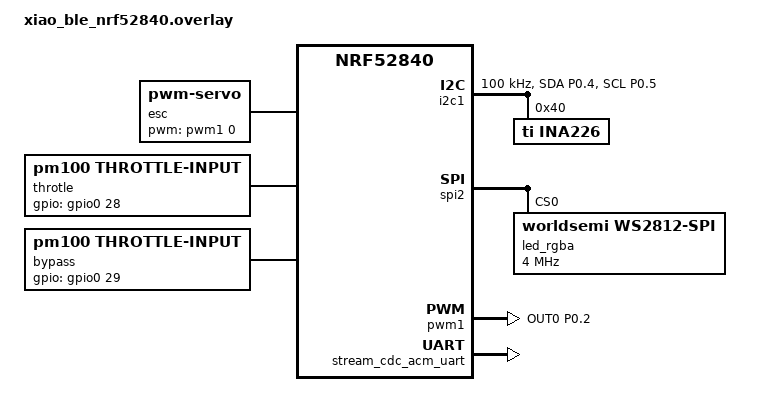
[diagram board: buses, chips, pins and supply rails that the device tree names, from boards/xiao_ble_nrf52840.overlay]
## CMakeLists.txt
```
# SPDX-License-Identifier: Apache-2.0

cmake_minimum_required(VERSION 3.20.0)
find_package(Zephyr REQUIRED HINTS $ENV{ZEPHYR_BASE})
project(pm100)

target_sources(app PRIVATE src/main.c src/control.c src/stream.c)
```

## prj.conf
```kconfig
CONFIG_USB_DEVICE_STACK=y
CONFIG_USB_DEVICE_INITIALIZE_AT_BOOT=y
CONFIG_CONSOLE=y
CONFIG_UART_CONSOLE=y
CONFIG_UART_LINE_CTRL=y
# Two CDC ACM instances are instantiated from the devicetree:
# board_cdc_acm_uart (console + shell + logs) and stream_cdc_acm_uart (binary
# telemetry stream, see boards/xiao_ble_nrf52840.overlay and src/stream.c).
#
# The ring buffer size is global, i.e. it applies to TX *and* RX of *both*
# instances: 2 x 2 x 4096 = 16 kB of RAM. It is deliberately much larger than
# the biggest frame (8 + 48*44 = 2120 bytes) so a whole frame is normally
# accepted by a single uart_fifo_fill() call and the stream stays contiguous.
CONFIG_USB_CDC_ACM_RINGBUF_SIZE=4096
CONFIG_GPIO=y
CONFIG_CBPRINTF_FP_SUPPORT=y
CONFIG_LOG=y
CONFIG_SHELL=y
CONFIG_SHELL_HISTORY=y
CONFIG_SHELL_VT100_COLORS=y
CONFIG_SERIAL=y
CONFIG_PWM=y

# nrfx TIMER2 is used directly from src/control.c (GPIOTE -> PPI input capture),
# so CONFIG_NRFX_TIMER2 and CONFIG_NRFX_PPI must stay enabled.
# CONFIG_COUNTER must NOT be enabled: with the nRF timer nodes exposed to the
# devicetree the Zephyr counter driver binds to TIMER2/TIMER3 (it programs the
# same peripheral, owns CC0/CC1 and enables their IRQs) and conflicts with the
# raw nrfx use of TIMER2. Nothing in this application uses the counter API.
CONFIG_NRFX_TIMER2=y
CONFIG_NRFX_PPI=y
CONFIG_I2C=y
CONFIG_SENSOR=y
CONFIG_INA226=y
CONFIG_INA226_VSHUNT=y

CONFIG_SPI=y
CONFIG_LED_STRIP=y



CONFIG_FLASH=y
CONFIG_FLASH_PAGE_LAYOUT=y
CONFIG_FLASH_MAP=y
CONFIG_NVS=y
CONFIG_SETTINGS=y
CONFIG_SETTINGS_NVS=y
CONFIG_BT=y
CONFIG_BT_PERIPHERAL=y
CONFIG_BT_DEVICE_NAME="PM100-PowerLimiter"
CONFIG_BT_SMP=y
CONFIG_BT_SETTINGS=y
CONFIG_BT_FIXED_PASSKEY=y
CONFIG_BT_KEYS_OVERWRITE_OLDEST=y
CONFIG_BT_KEYS_SAVE_AGING_COUNTER_ON_PAIRING=y

# Configure BLE TX Power to the lowest possible level (-40 dBm)
CONFIG_BT_CTLR=y
CONFIG_BT_CTLR_TX_PWR_MINUS_4=y
```

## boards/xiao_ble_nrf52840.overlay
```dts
// To get started, press Ctrl+Space to bring up the completion menu and view the available nodes.

// You can also use the buttons in the sidebar to perform actions on nodes.
// Actions currently available include:

// * Enabling / disabling the node
// * Adding the bus to a bus
// * Removing the node
// * Connecting ADC channels

// For more help, browse the DeviceTree documentation at https://docs.zephyrproject.org/latest/guides/dts/index.html
// You can also visit the nRF DeviceTree extension documentation at https://docs.nordicsemi.com/bundle/nrf-connect-vscode/page/guides/ncs_configure_app.html#devicetree-support-in-the-extension

#include <zephyr/dt-bindings/pwm/pwm.h>
#include <zephyr/dt-bindings/gpio/gpio.h>
#include <zephyr/dt-bindings/sensor/ina226.h>
#include <zephyr/dt-bindings/led/led.h>
#include <zephyr/dt-bindings/i2c/i2c.h>

&pinctrl {

	esc_default: esc_default {
		group1 {
			psels = <NRF_PSEL(PWM_OUT0, 0, 2)>;
		};
	};
	esc_sleep: esc_sleep {
		group1 {
			psels = <NRF_PSEL(PWM_OUT0, 0, 2)>;
			low-power-enable;
		};
	};
	i2c1_default: i2c1_default {
        	group1 {
                	psels = <NRF_PSEL(TWIM_SDA, 0, 4)>,
                        	<NRF_PSEL(TWIM_SCL, 0, 5)>;
                	bias-pull-up; /* ENABLES THE INTERNAL PULL-UP RESISTORS */
            };
        };
	i2c1_sleep: i2c1_sleep {
        	group1 {
                	psels = <NRF_PSEL(TWIM_SDA, 0, 4)>,
                        	<NRF_PSEL(TWIM_SCL, 0, 5)>;
                	low-power-enable;
            	};
        };

	// spi2_default: spi2_default {
	// 	group1 {
	// 		psels = <NRF_PSEL(SPIM_SCK, 0, 13)>,
	// 			<NRF_PSEL(SPIM_MOSI, 0, 17)>,
	// 			<NRF_PSEL(SPIM_MISO, 0, 15)>;
	// 	};
	// };

	// spi2_sleep: spi2_sleep {
	// 	group1 {
	// 		psels = <NRF_PSEL(SPIM_SCK, 0, 13)>,
	// 			<NRF_PSEL(SPIM_MOSI, 0, 17)>,
	// 			<NRF_PSEL(SPIM_MISO, 0, 15)>;
	// 		low-power-enable;
	// 	};
	// };
};

&i2c1 {
    	status = "okay";
	/* Keep the legacy TWI (compatible = "nordic,nrf-twi" from the board) at
	 * its default 100 kHz. The INA226 probe is on flying leads, and the
	 * previous I2C_BITRATE_FAST (400 kHz) setting made the sensor fail to
	 * probe: ina226_init() aborts, the device stays "not ready",
	 * control_init() returns -ENODEV and the 1 kHz control thread never
	 * starts, so the ESC output is never driven (the aircraft appears dead).
	 * Only raise this to <I2C_BITRATE_FAST> after scoping the bus with the
	 * real harness (short wires + strong pull-ups).
	 */
    	clock-frequency = <I2C_BITRATE_STANDARD>;
        pinctrl-0 = <&i2c1_default>;
        pinctrl-1 = <&i2c1_sleep>;
      	pinctrl-names = "default", "sleep";
	ina226@40 {
		compatible = "ti,ina226";
		reg = <0x40>;
		current-lsb-microamps = <500>;
		rshunt-micro-ohms = <1000>;
		/* Averaging costs LATENCY, not loop time: the config register is
		 * written once at init and ina226_read_data() only reads the result
		 * registers, so the INA226 free-runs and the 1 kHz loop simply
		 * re-reads the latest latched value (no blocking, no extra I2C time).
		 *
		 * Update period = avg-count x (vbus + vshunt conversion):
		 *   4 x (332 + 332) us = 2.66 ms -> 376 Hz update, ~1.3 ms group
		 *   delay, i.e. ~5 deg of phase at the ~15 Hz loop bandwidth, and
		 *   sqrt(4) = 2x less random noise than avg-count = 1.
		 * avg-count = 16 would add ~5.3 ms (~20 deg); only worth it if noise
		 * is still the limit after the controller changes.
		 *
		 * Floor: the shunt LSB is 2.5 uV, i.e. 2.5 mA over 1 mOhm = ~27 mW at
		 * 11 V, which averaging cannot improve.
		 */
		avg-count = <4>;
		vbus-conversion-time-us = <332>;
		vshunt-conversion-time-us = <332>;
		status = "okay";
	};

};

&spi2 {
	status = "okay";
	pinctrl-0 = <&spi2_default>;
	pinctrl-1 = <&spi2_sleep>;
	pinctrl-names = "default","sleep";
	led_rgba: ws2812@0 {
		compatible = "worldsemi,ws2812-spi";

		/* SPI */
		reg = <0>; /* ignored, but necessary for SPI device */
		/*
		 * The driver encodes ONE WS2812 bit as a WHOLE SPI BYTE, not 3 SPI
		 * bits (see the "8x internal memory overhead: 1 byte of driver RAM
		 * per bit of pixel data" note in worldsemi,ws2812-spi.yaml, and
		 * ws2812_spi_ser()/buf.len = length*8*num_colors in the driver), so
		 * the WS2812 bit period is 8 / f_sck:
		 *   4 MHz   -> 2.0 us per WS2812 bit  (T1H 750 ns, T0H 250 ns)
		 *   2.4 MHz -> 4.0 us per WS2812 bit  (T1H 1500 ns - 2x the max!)
		 * WS2812B wants 1.25 us, and this driver has no finer control, so
		 * 4 MHz with 0x70/0x40 is the combination Zephyr/Nordic validate for
		 * exactly this driver
		 * (zephyr/samples/drivers/led/led_strip/nrf52-bindings.h:
		 *  SPI_FREQ 4000000, ZERO_FRAME 0x40, ONE_FRAME 0x70).
		 *
		 * Do NOT use 2.4 MHz here. This board's spi2 is the legacy
		 * "nordic,nrf-spi" (CONFIG_SPI_NRFX_SPI), which can only produce
		 * 125k/250k/500k/1M/2M/4M/8M; get_nrf_spi_frequency() silently picks
		 * the highest rate NOT exceeding the request, so 2.4 MHz silently
		 * becomes 2 MHz and every WS2812 bit is stretched to 4.0 us with a
		 * 1.5 us high time. The strip then fails to decode and typically
		 * latches all ones = solid WHITE.
		 */
		spi-max-frequency = <4000000>;

		/* WS2812 */
		chain-length = <1>; /* arbitrary; change at will */
		spi-one-frame = <0x70>;  /* 0111 0000: 750 ns high, 1250 ns low */
		spi-zero-frame = <0x40>; /* 0100 0000: 250 ns high, 1750 ns low */
		color-mapping = <LED_COLOR_ID_GREEN
				 LED_COLOR_ID_RED
				 LED_COLOR_ID_BLUE>;
	};
};

&timer0 {
	status = "disabled";
};

&timer1 {
	status = "disabled";
};

/*
 * TIMER2 is driven directly through nrfx by src/control.c (GPIOTE -> PPI input
 * capture of the pilot throttle, NRF_TIMER_CC_CHANNEL0, 16 MHz, 32-bit).
 *
 * It MUST stay "disabled" here. These nodes are already "disabled" in
 * nrf52840.dtsi; enabling them made Zephyr's counter driver
 * (CONFIG_COUNTER=y, auto-selected CONFIG_COUNTER_NRF_TIMER=y) bind a counter
 * device to TIMER2 and TIMER3 and run its init at POST_KERNEL, i.e. before
 * main(): it programs bit width/mode/prescaler on the very same peripheral,
 * takes CC[0] (its TOP_CH) and CC[1] (COUNTER_READ_CC), and enables the
 * TIMER2/TIMER3 NVIC lines with its own ISR (IRQ 10 / IRQ 26). That is two
 * owners for one peripheral: CC[0] is exactly the channel the capture path
 * writes/reads, and nrfx_timer_init() can silently return NRFX_ERROR_ALREADY,
 * which src/control.c swallows.
 *
 * CONFIG_NRFX_TIMER2=y in prj.conf is what gives us the nrfx TIMER2 driver; it
 * only needs the "timer2" node *label* to exist, not an "okay" node.
 * TIMER0/TIMER1 stay disabled on purpose: they are reserved by the SoftDevice
 * Controller / MPSL that this build uses (chosen zephyr,bt-hci = &bt_hci_sdc).
 */
&timer2 {
	status = "disabled";
};
&timer3 {
	status = "disabled";
};
&pwm1{
	status = "okay";
	pinctrl-0 = <&esc_default>;
	pinctrl-1 = <&esc_sleep>;
	pinctrl-names = "default", "sleep";
};


/ {
	aliases {
		rgba = &led_rgba;
	};

	esc: esc {
		compatible = "pwm-servo";
		pwms = <&pwm1 0 PWM_MSEC(20) PWM_POLARITY_NORMAL>;
		min-pulse = <PWM_USEC(700)>;
		max-pulse = <PWM_USEC(2500)>;
		status = "okay";
	};

	/*
	 * RC-style PWM inputs, captured with nrfx GPIOTE + PPI + TIMER2 in
	 * src/control.c. Both nodes use a binding that has no driver
	 * (dts/bindings/pm100,throttle-input.yaml); that binding is what types
	 * "gpios" as a GPIO phandle-array, which is what GPIO_DT_SPEC_GET() in
	 * control.c needs.
	 * Do NOT go back to compatible = "gpio-leds": the Zephyr LED driver
	 * would configure these *input* pins as push-pull OUTPUTs at POST_KERNEL
	 * and drive them low (fighting the flight controller's signal) until the
	 * capture path re-configures them as inputs.
	 */
	throtle: throtle {
		compatible = "pm100,throttle-input";
		/* Pilot throttle input on P0.28 (XIAO D2). */
		gpios = <&gpio0 28 GPIO_PULL_DOWN>;
	};

	/* Limiter bypass switch input on P0.29 (XIAO D3). When this pulse is
	 * >= 1500 us the controller is bypassed and the pilot throttle passes
	 * straight to the ESC; below 1500 us the limiter runs normally.
	 */
	bypass: bypass {
		compatible = "pm100,throttle-input";
		gpios = <&gpio0 29 GPIO_PULL_DOWN>;
	};
};

/*
 * Second CDC ACM instance: dedicated binary telemetry stream
 * (src/stream.c), so shell commands, prompts and log output never mix with
 * the frames.
 *
 * Both instances are interfaces of the same USB device, so they share one
 * VID/PID (CONFIG_USB_DEVICE_VID/PID) and one iSerialNumber. Zephyr's
 * cdc_interface_config() rebases the interface numbers per instance, so the
 * first instance takes interfaces 0/1 and this one takes 2/3 (a second IAD).
 * Resources: 3 endpoints each (2 IN + 1 OUT), i.e. 4 IN + 2 OUT of the 7+7
 * the nRF52840 USBD provides.
 */
&zephyr_udc0 {
	stream_cdc_acm_uart: stream_cdc_acm_uart {
		compatible = "zephyr,cdc-acm-uart";
	};
};
```

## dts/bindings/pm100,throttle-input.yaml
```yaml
# SPDX-License-Identifier: Apache-2.0

description: |
  RC-style PWM input of the PM100 power limiter (pilot throttle, limiter
  bypass switch, ...).

  The pulse width is captured by the application itself with nrfx
  GPIOTE + PPI + TIMER2 (see src/control.c), so there is deliberately NO Zephyr
  driver for this compatible.

  The binding only exists to give the node the standard "gpios" property
  declaration. GPIO_DT_SPEC_GET() requires the property to be typed as a
  phandle-array: that is what makes the devicetree generator emit the
  controller device ordinal and the "pin" cell macros. Without a binding on the
  node (or a child-binding on its parent) those macros are not generated at all
  and the build fails with:

    error: '__device_dts_ord_DT_N_S_throtle_P_gpios_IDX_0_PH_ORD' undeclared

  Note: do NOT go back to compatible = "gpio-leds" on this pin. The Zephyr LED
  driver would configure an *input* pin as a push-pull output and drive it low
  at POST_KERNEL, i.e. before control_init() re-configures it through nrfx.

compatible: "pm100,throttle-input"

properties:
  gpios:
    type: phandle-array
    required: true
    description: |
      Throttle input pin, e.g. <&gpio0 28 GPIO_PULL_DOWN>.
```

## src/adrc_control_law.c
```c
#include "adrc_control_law.h"
#include <math.h>

/**
 * @brief Reset the ADRC controller states.
 * 
 * Sets reference, measurement, and observer states (zhat) to 0.0f.
 * Resets u_prev to 0.0f.
 * 
 * @param self Pointer to the base control law interface.
 * @return int 0 on success.
 */
static int reset (struct siso_control_law * self)
{
    struct adrc_control_law *al =
        CL_CONTAINER_OF(self, struct adrc_control_law, interface);

    al->interface.reference = 0.0f;
    al->interface.measurement = 0.0f;
    al->zhat[0] = 0.0f;
    al->zhat[1] = 0.0f;
    al->zhat[2] = 0.0f;
    al->u_prev = 0.0f;

    return 0;
}

/**
 * @brief Set the reference and measurement for the ADRC controller.
 * 
 * @param self Pointer to the base control law interface.
 * @param reference Desired power target in Watts.
 * @param measurement Measured power in Watts.
 * @return int 0 on success.
 */
static int set (struct siso_control_law * self, float reference, float measurement)
{
    struct adrc_control_law *al =
        CL_CONTAINER_OF(self, struct adrc_control_law, interface);

    al->interface.reference = reference;
    al->interface.measurement = measurement;

    return 0;
}

/**
 * @brief Update the ADRC controller observer and calculate control command.
 * 
 * Performs Euler integration of the 3rd-order Linear Extended State Observer (LESO)
 * and calculates the control effort. Employs anti-windup clamping [1000, 2000]
 * to prevent observer and actuator windup.
 * 
 * @param self Pointer to the base control law interface.
 * @param dt Sampling time step in seconds.
 * @param command Pointer to store the calculated control effort (PWM pulse in us).
 * @return int 0 on success, or -EINVAL if command pointer is NULL.
 */
static int update (struct siso_control_law * self, float dt, float *command)
{
    struct adrc_control_law *al =
        CL_CONTAINER_OF(self, struct adrc_control_law, interface);

    if(!command)
        return -EINVAL;

    float ref = al->interface.reference;
    float mes = al->interface.measurement;
    float zhat_1 = al->zhat[0];
    float zhat_2 = al->zhat[1];
    float zhat_3 = al->zhat[2];
    
    // Discrete-to-continuous scaled LESO gains
    float l1 = al->l[0];
    float l2 = al->l[1];
    float l3 = al->l[2];
    
    float kp = al->kp;
    float kd = al->kd;
    float b0 = al->b0;
    float u_prev = al->u_prev;

    // 1. LESO Observer Dynamics (Continuous Euler Integration):
    float zhat_dot_1 = -l1 * zhat_1 + zhat_2 + l1 * mes;
    float zhat_dot_2 = -l2 * zhat_1 + zhat_3 + l2 * mes + b0 * u_prev;
    float zhat_dot_3 = -l3 * zhat_1 + l3 * mes;

    // 2. Update the estimated states:
    zhat_1 += zhat_dot_1 * dt;
    zhat_2 += zhat_dot_2 * dt;
    zhat_3 += zhat_dot_3 * dt;

    // 3. Compute control effort command (represents target PWM pulse in microseconds):
    float u = (kp * (ref - zhat_1) - kd * zhat_2 - zhat_3) / b0;

    // 4. Anti-Windup Clamping: Keep control effort within physical ESC boundaries (1000 - 2000 uS)
    if (u > 2000.0f) {
        u = 2000.0f;
    } else if (u < 1000.0f) {
        u = 1000.0f;
    }

    // Save state back to struct
    al->u_prev = u;
    al->zhat[0] = zhat_1;
    al->zhat[1] = zhat_2;
    al->zhat[2] = zhat_3;

    *command = u;

    return 0;
}

/**
 * @brief Tune and initialize the ADRC controller.
 * 
 * Computes bandwidth-parameterized discrete-to-continuous gains for the observer
 * and registers the interface pointers.
 * 
 * @param al Pointer to the adrc_control_law struct.
 * @param dt Sampling time step in seconds.
 * @param wo Observer bandwidth (rad/s).
 * @param b0 Controller input gain scaling factor.
 * @param kp Proportional gain.
 * @param kd Derivative gain.
 * @return int 0 on success, or -EINVAL if al is NULL.
 */
int adrc_control_law_tune(struct adrc_control_law *al, float dt, float wo, float b0, float kp, float kd)
{
    if(!al)
        return -EINVAL;

    al->interface.reset = reset;
    al->interface.set = set;
    al->interface.update = update;
    al->b0 = b0;
    al->kp = kp;
    al->kd = kd;

    // Compute continuous-time LESO observer gains:
    al->l[0] = 3.0f * wo;
    al->l[1] = 3.0f * wo * wo;
    al->l[2] = wo * wo * wo;

    return (control_law_reset(&al->interface));
}
```

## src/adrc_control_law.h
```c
#ifndef __ADRC_CONTROL_LAW_H
#define __ADRC_CONTROL_LAW_H

#include "lipe/control_law.h"

struct adrc_control_law {
    struct siso_control_law interface;
    float b0;
    float kp;
    float kd;
    float l[3];
    float zhat[3];
    float error;
    float last_time;
    float dt;
    float target_power;
    float current_power;
    float control_effort;
    int u_prev;
    int ticks;
    int sample_ratio;
    int reading_error;
    int writing_error;
};

static inline struct siso_control_law * get_adrc_control_law_interface(struct adrc_control_law *al)
{
    if(al) {
        return &al->interface;
    }

    return NULL;
}

int adrc_control_law_tune(struct adrc_control_law *al, float dt, float wo, float b0, float kp, float kd);

#endif
```

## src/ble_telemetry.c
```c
#include "ble_telemetry.h"
#include <zephyr/kernel.h>
#include <zephyr/logging/log.h>
#include <stdio.h>
#include <stdlib.h>
#include <string.h>

#if IS_ENABLED(CONFIG_BT)
#include <zephyr/bluetooth/bluetooth.h>
#include <zephyr/bluetooth/hci.h>
#include <zephyr/bluetooth/conn.h>
#include <zephyr/bluetooth/uuid.h>
#include <zephyr/bluetooth/gatt.h>
#include <zephyr/settings/settings.h>

/* Custom Service 128-bit UUID definition */
#define BT_UUID_PM100_VAL \
    BT_UUID_128_ENCODE(0xe20a1a00, 0x473b, 0x4444, 0x9f6d, 0xbe083a8bd92d)
static struct bt_uuid_128 pm100_svc_uuid = BT_UUID_INIT_128(BT_UUID_PM100_VAL);

/* Custom Characteristics 128-bit UUIDs */
#define BT_UUID_PWM_VAL \
    BT_UUID_128_ENCODE(0xe20a1a03, 0x473b, 0x4444, 0x9f6d, 0xbe083a8bd92d)
static struct bt_uuid_128 pwm_chrc_uuid = BT_UUID_INIT_128(BT_UUID_PWM_VAL);

#define BT_UUID_TEAM_NAME_VAL \
    BT_UUID_128_ENCODE(0xe20a1a04, 0x473b, 0x4444, 0x9f6d, 0xbe083a8bd92d)
static struct bt_uuid_128 team_name_chrc_uuid = BT_UUID_INIT_128(BT_UUID_TEAM_NAME_VAL);

#define BT_UUID_TEAM_NUM_VAL \
    BT_UUID_128_ENCODE(0xe20a1a05, 0x473b, 0x4444, 0x9f6d, 0xbe083a8bd92d)
static struct bt_uuid_128 team_num_chrc_uuid = BT_UUID_INIT_128(BT_UUID_TEAM_NUM_VAL);

#define BT_UUID_WHITE_BLINK_VAL \
    BT_UUID_128_ENCODE(0xe20a1a06, 0x473b, 0x4444, 0x9f6d, 0xbe083a8bd92d)
static struct bt_uuid_128 white_blink_chrc_uuid = BT_UUID_INIT_128(BT_UUID_WHITE_BLINK_VAL);

#define BT_UUID_POWER_VAL \
    BT_UUID_128_ENCODE(0xe20a1a08, 0x473b, 0x4444, 0x9f6d, 0xbe083a8bd92d)
static struct bt_uuid_128 power_chrc_uuid = BT_UUID_INIT_128(BT_UUID_POWER_VAL);

#define BT_UUID_CTRL_STATE_VAL \
    BT_UUID_128_ENCODE(0xe20a1a07, 0x473b, 0x4444, 0x9f6d, 0xbe083a8bd92d)
static struct bt_uuid_128 ctrl_state_chrc_uuid = BT_UUID_INIT_128(BT_UUID_CTRL_STATE_VAL);

/* Thread-safe local BLE data caches */
static uint16_t g_ble_voltage = 0;   // In Millivolts (mV)
static uint16_t g_ble_current = 0;   // In Milliamperes (mA)
static uint32_t g_ble_energy = 0;    // In Joules (J)
static uint16_t g_ble_pwms[3] = {1000, 1000, 1000}; // Array of [PWM_in, PWM_out, PWM_ctrl] in us
static uint32_t g_ble_power = 0;     // Peak power since boot, in Milliwatts (mW)
static uint8_t g_ble_control_state = 0; // enum ctrl_state

/* Dynamic Device Name Buffer */
static char g_dynamic_name[45] = "PM100-PowerLimiter";

/* Notification Subscription Config flags */
static bool g_notify_voltage = false;
static bool g_notify_current = false;
static bool g_notify_energy = false;
static bool g_notify_uptime = false;
static bool g_notify_pwms = false;
static bool g_notify_power = false;
static bool g_notify_control_state = false;

/* GATT Attribute Read Callbacks (Protected with Encryption Permission) */

static ssize_t read_voltage(struct bt_conn *conn, const struct bt_gatt_attr *attr,
			    void *buf, uint16_t len, uint16_t offset)
{
    return bt_gatt_attr_read(conn, attr, buf, len, offset, &g_ble_voltage, sizeof(g_ble_voltage));
}

static ssize_t read_current(struct bt_conn *conn, const struct bt_gatt_attr *attr,
			    void *buf, uint16_t len, uint16_t offset)
{
    return bt_gatt_attr_read(conn, attr, buf, len, offset, &g_ble_current, sizeof(g_ble_current));
}

static ssize_t read_energy(struct bt_conn *conn, const struct bt_gatt_attr *attr,
			   void *buf, uint16_t len, uint16_t offset)
{
    return bt_gatt_attr_read(conn, attr, buf, len, offset, &g_ble_energy, sizeof(g_ble_energy));
}

static ssize_t read_uptime(struct bt_conn *conn, const struct bt_gatt_attr *attr,
			   void *buf, uint16_t len, uint16_t offset)
{
    uint32_t uptime_ms = (uint32_t)k_uptime_get();
    return bt_gatt_attr_read(conn, attr, buf, len, offset, &uptime_ms, sizeof(uptime_ms));
}

static ssize_t read_pwms(struct bt_conn *conn, const struct bt_gatt_attr *attr,
			 void *buf, uint16_t len, uint16_t offset)
{
    return bt_gatt_attr_read(conn, attr, buf, len, offset, g_ble_pwms, sizeof(g_ble_pwms));
}

static ssize_t read_power(struct bt_conn *conn, const struct bt_gatt_attr *attr,
			  void *buf, uint16_t len, uint16_t offset)
{
    return bt_gatt_attr_read(conn, attr, buf, len, offset, &g_ble_power, sizeof(g_ble_power));
}

static ssize_t read_control_state(struct bt_conn *conn, const struct bt_gatt_attr *attr,
				  void *buf, uint16_t len, uint16_t offset)
{
    return bt_gatt_attr_read(conn, attr, buf, len, offset, &g_ble_control_state, sizeof(g_ble_control_state));
}

static ssize_t read_team_name(struct bt_conn *conn, const struct bt_gatt_attr *attr,
			      void *buf, uint16_t len, uint16_t offset)
{
    char local_name[32];
    k_mutex_lock(&g_config_mutex, K_FOREVER);
    strncpy(local_name, g_config.team_name, sizeof(local_name) - 1);
    local_name[sizeof(local_name) - 1] = '\0';
    k_mutex_unlock(&g_config_mutex);

    return bt_gatt_attr_read(conn, attr, buf, len, offset, local_name, strlen(local_name));
}

static ssize_t read_team_number(struct bt_conn *conn, const struct bt_gatt_attr *attr,
				void *buf, uint16_t len, uint16_t offset)
{
    uint32_t number;
    k_mutex_lock(&g_config_mutex, K_FOREVER);
    number = g_config.team_number;
    k_mutex_unlock(&g_config_mutex);

    return bt_gatt_attr_read(conn, attr, buf, len, offset, &number, sizeof(number));
}

/* GATT Attribute Write Callback for LED White Blink Trigger */
static ssize_t write_white_blink(struct bt_conn *conn, const struct bt_gatt_attr *attr,
				 const void *buf, uint16_t len, uint16_t offset, uint8_t flags)
{
    if (offset != 0 || len != 1) {
        return BT_GATT_ERR(BT_ATT_ERR_INVALID_OFFSET);
    }

    uint8_t val = ((const uint8_t *)buf)[0];
    if (val != 0) {
        g_blink_start_time = k_uptime_get();
        LOG_INF("BLE White Blink Command received. Overriding LED to BLINK state for 5 seconds.");
    }

    return len;
}

/* CCC Descriptor Configuration Change Callbacks */

static void voltage_ccc_changed(const struct bt_gatt_attr *attr, uint16_t value)
{
    g_notify_voltage = (value == BT_GATT_CCC_NOTIFY);
    LOG_INF("BLE Voltage notification state changed: %s", g_notify_voltage ? "enabled" : "disabled");
}

static void current_ccc_changed(const struct bt_gatt_attr *attr, uint16_t value)
{
    g_notify_current = (value == BT_GATT_CCC_NOTIFY);
    LOG_INF("BLE Current notification state changed: %s", g_notify_current ? "enabled" : "disabled");
}

static void energy_ccc_changed(const struct bt_gatt_attr *attr, uint16_t value)
{
    g_notify_energy = (value == BT_GATT_CCC_NOTIFY);
    LOG_INF("BLE Energy notification state changed: %s", g_notify_energy ? "enabled" : "disabled");
}

static void uptime_ccc_changed(const struct bt_gatt_attr *attr, uint16_t value)
{
    g_notify_uptime = (value == BT_GATT_CCC_NOTIFY);
    LOG_INF("BLE Uptime notification state changed: %s", g_notify_uptime ? "enabled" : "disabled");
}

static void pwm_ccc_changed(const struct bt_gatt_attr *attr, uint16_t value)
{
    g_notify_pwms = (value == BT_GATT_CCC_NOTIFY);
    LOG_INF("BLE PWM Signals notification state changed: %s", g_notify_pwms ? "enabled" : "disabled");
}

static void power_ccc_changed(const struct bt_gatt_attr *attr, uint16_t value)
{
    g_notify_power = (value == BT_GATT_CCC_NOTIFY);
    LOG_INF("BLE Power notification state changed: %s", g_notify_power ? "enabled" : "disabled");
}

static void control_state_ccc_changed(const struct bt_gatt_attr *attr, uint16_t value)
{
    g_notify_control_state = (value == BT_GATT_CCC_NOTIFY);
    LOG_INF("BLE Control State notification state changed: %s", g_notify_control_state ? "enabled" : "disabled");
}

/* Custom PM100 GATT Service Declaration - All characteristics require Encryption */
BT_GATT_SERVICE_DEFINE(pm100_svc,
    BT_GATT_PRIMARY_SERVICE(&pm100_svc_uuid),

    /* 1. Voltage Characteristic (Standard 16-bit UUID 0x2B18, ENCRYPT permissions) */
    BT_GATT_CHARACTERISTIC(BT_UUID_DECLARE_16(0x2B18),
        BT_GATT_CHRC_READ | BT_GATT_CHRC_NOTIFY,
        BT_GATT_PERM_READ_ENCRYPT, read_voltage, NULL, NULL),
    BT_GATT_CCC(voltage_ccc_changed, BT_GATT_PERM_READ | BT_GATT_PERM_WRITE),

    /* 2. Current Characteristic (Standard 16-bit UUID 0x2B17, ENCRYPT permissions) */
    BT_GATT_CHARACTERISTIC(BT_UUID_DECLARE_16(0x2B17),
        BT_GATT_CHRC_READ | BT_GATT_CHRC_NOTIFY,
        BT_GATT_PERM_READ_ENCRYPT, read_current, NULL, NULL),
    BT_GATT_CCC(current_ccc_changed, BT_GATT_PERM_READ | BT_GATT_PERM_WRITE),

    /* 3. Energy Characteristic (Standard 16-bit UUID 0x2B06, ENCRYPT permissions) */
    BT_GATT_CHARACTERISTIC(BT_UUID_DECLARE_16(0x2B06),
        BT_GATT_CHRC_READ | BT_GATT_CHRC_NOTIFY,
        BT_GATT_PERM_READ_ENCRYPT, read_energy, NULL, NULL),
    BT_GATT_CCC(energy_ccc_changed, BT_GATT_PERM_READ | BT_GATT_PERM_WRITE),

    /* 4. Uptime Characteristic (Standard 16-bit UUID 0x2A2B, ENCRYPT permissions) */
    BT_GATT_CHARACTERISTIC(BT_UUID_DECLARE_16(0x2A2B),
        BT_GATT_CHRC_READ | BT_GATT_CHRC_NOTIFY,
        BT_GATT_PERM_READ_ENCRYPT, read_uptime, NULL, NULL),
    BT_GATT_CCC(uptime_ccc_changed, BT_GATT_PERM_READ | BT_GATT_PERM_WRITE),

    /* 5. PWM Signals Characteristic (Custom 128-bit UUID, ENCRYPT permissions) */
    BT_GATT_CHARACTERISTIC(&pwm_chrc_uuid.uuid,
        BT_GATT_CHRC_READ | BT_GATT_CHRC_NOTIFY,
        BT_GATT_PERM_READ_ENCRYPT, read_pwms, NULL, NULL),
    BT_GATT_CCC(pwm_ccc_changed, BT_GATT_PERM_READ | BT_GATT_PERM_WRITE),

    /* 6. Read-Only Team Name Characteristic (Custom 128-bit UUID, ENCRYPT permissions) */
    BT_GATT_CHARACTERISTIC(&team_name_chrc_uuid.uuid,
        BT_GATT_CHRC_READ,
        BT_GATT_PERM_READ_ENCRYPT, read_team_name, NULL, NULL),

    /* 7. Read-Only Team Number Characteristic (Custom 128-bit UUID, ENCRYPT permissions) */
    BT_GATT_CHARACTERISTIC(&team_num_chrc_uuid.uuid,
        BT_GATT_CHRC_READ,
        BT_GATT_PERM_READ_ENCRYPT, read_team_number, NULL, NULL),

    /* 8. Write-Only White Blink Command (Custom 128-bit UUID, ENCRYPT permissions) */
    BT_GATT_CHARACTERISTIC(&white_blink_chrc_uuid.uuid,
        BT_GATT_CHRC_WRITE,
        BT_GATT_PERM_WRITE_ENCRYPT, NULL, write_white_blink, NULL),

    /* 9. Peak Power Characteristic (Custom 128-bit UUID, ENCRYPT permissions) */
    BT_GATT_CHARACTERISTIC(&power_chrc_uuid.uuid,
        BT_GATT_CHRC_READ | BT_GATT_CHRC_NOTIFY,
        BT_GATT_PERM_READ_ENCRYPT, read_power, NULL, NULL),
    BT_GATT_CCC(power_ccc_changed, BT_GATT_PERM_READ | BT_GATT_PERM_WRITE),

    /* 10. Control State Characteristic (Custom 128-bit UUID, ENCRYPT permissions) */
    BT_GATT_CHARACTERISTIC(&ctrl_state_chrc_uuid.uuid,
        BT_GATT_CHRC_READ | BT_GATT_CHRC_NOTIFY,
        BT_GATT_PERM_READ_ENCRYPT, read_control_state, NULL, NULL),
    BT_GATT_CCC(control_state_ccc_changed, BT_GATT_PERM_READ | BT_GATT_PERM_WRITE),
);

/* Security Passkey Callback / Authentication Interface */
static void auth_passkey_display(struct bt_conn *conn, unsigned int passkey)
{
    LOG_INF("BLE Security Passkey pairing initiated. Enter passcode display: %04u", passkey);
}

static void auth_cancel(struct bt_conn *conn)
{
    LOG_INF("BLE Security Pairing cancelled by peer.");
}

static void pairing_complete(struct bt_conn *conn, bool bonded)
{
    LOG_INF("BLE Pairing complete. Bonded: %s", bonded ? "yes" : "no");
}

static void pairing_failed(struct bt_conn *conn, enum bt_security_err reason)
{
    LOG_ERR("BLE Pairing failed: reason %u", (unsigned int)reason);
}

static struct bt_conn_auth_cb auth_cb = {
    .passkey_display = auth_passkey_display,
    .cancel = auth_cancel,
};

static struct bt_conn_auth_info_cb auth_info_cb = {
    .pairing_complete = pairing_complete,
    .pairing_failed = pairing_failed,
};

/* BLE Connection Callbacks */
static void connected(struct bt_conn *conn, uint8_t err)
{
    if (err) {
        LOG_ERR("BLE Connection failed: error %u", err);
    } else {
        LOG_INF("BLE Client Connected successfully.");
    }
}

static void disconnected(struct bt_conn *conn, uint8_t reason)
{
    LOG_INF("BLE Client Disconnected (reason %u).", reason);
}

BT_CONN_CB_DEFINE(conn_callbacks) = {
    .connected = connected,
    .disconnected = disconnected,
};

/* BLE Dynamic Advertising Data */
static struct bt_data ad[] = {
    BT_DATA_BYTES(BT_DATA_FLAGS, (BT_LE_AD_GENERAL | BT_LE_AD_NO_BREDR)),
    BT_DATA(BT_DATA_NAME_COMPLETE, g_dynamic_name, 18), // Starts with default name, updated dynamically
};

static void bt_ready(int err)
{
    if (err) {
        LOG_ERR("Bluetooth initialization failed: error %d", err);
        return;
    }

    LOG_INF("Bluetooth Stack initialized successfully.");

    /* 1. Register security authorization callback */
    err = bt_conn_auth_cb_register(&auth_cb);
    if (err) {
        LOG_ERR("Failed to register BLE security callbacks: error %d", err);
    }

    err = bt_conn_auth_info_cb_register(&auth_info_cb);
    if (err) {
        LOG_ERR("Failed to register BLE security info callbacks: error %d", err);
    }

    /* 2. Configure active pairing password (passkey) loaded from NVS PIN_code */
    unsigned int passkey_pin = 1234; // Safe fallback
    k_mutex_lock(&g_config_mutex, K_FOREVER);
    passkey_pin = (unsigned int)strtoul(g_config.PIN_code, NULL, 10);
    k_mutex_unlock(&g_config_mutex);

    err = bt_passkey_set(passkey_pin);
    if (err) {
        LOG_ERR("Failed to set BLE pairing passkey: error %d", err);
    } else {
        LOG_INF("BLE Security PIN set successfully to '%04u'. Link Encryption active.", passkey_pin);
    }

    /* 3. Load BLE settings from persistent storage (restores bonds/identities) */
    if (IS_ENABLED(CONFIG_SETTINGS)) {
        err = settings_load();
        if (err) {
            LOG_ERR("Failed to load BLE settings: error %d", err);
        } else {
            LOG_INF("BLE settings loaded successfully (bonding keys restored).");
        }
    }

    /* 4. Compose dynamic device name: "<team_name>_<team_number>_<MAC_last_4>" */
    bt_addr_le_t addrs[1];
    size_t count = 1;
    bt_id_get(addrs, &count);
    uint8_t *mac = addrs[0].a.val;

    k_mutex_lock(&g_config_mutex, K_FOREVER);
    snprintf(g_dynamic_name, sizeof(g_dynamic_name), "%s_%u_%02X%02X",
             g_config.team_name, g_config.team_number, mac[1], mac[0]);
    k_mutex_unlock(&g_config_mutex);

    LOG_INF("BLE compiled dynamic device name: '%s'", g_dynamic_name);

    /* Update dynamic name reference and len in advertising struct */
    ad[1].data = (uint8_t *)g_dynamic_name;
    ad[1].data_len = strlen(g_dynamic_name);

    /* 5. Begin Conn advertising */
    err = bt_le_adv_start(BT_LE_ADV_CONN, ad, ARRAY_SIZE(ad), NULL, 0);
    if (err) {
        LOG_ERR("Failed to start BLE advertising: error %d", err);
        return;
    }

    LOG_INF("BLE Secure Advertising started successfully as '%s'.", g_dynamic_name);
}

int ble_telemetry_init(void)
{
    LOG_INF("Initializing Bluetooth Subsystem...");

    int err = bt_enable(bt_ready);
    if (err) {
        LOG_ERR("bt_enable returned error %d", err);
        return err;
    }

    return 0;
}

void ble_telemetry_update(const struct system_telemetry *telem)
{
    if (!telem) {
        return;
    }

    /* Update internal representations with SI scaling and safe integers */
    g_ble_voltage = (uint16_t)(telem->voltage_v * 1000.0f); // V -> mV
    g_ble_current = (uint16_t)(telem->current_a * 1000.0f); // A -> mA
    g_ble_energy = (uint32_t)telem->total_consumption_j;   // J -> raw J
    g_ble_pwms[0] = (uint16_t)telem->pwm_input_us;
    g_ble_pwms[1] = (uint16_t)telem->pwm_output_us;
    g_ble_pwms[2] = (uint16_t)telem->pwm_control_us;
    g_ble_power = (uint32_t)(telem->power_w * 1000.0f);   // Peak W -> mW
    g_ble_control_state = (uint8_t)telem->state;

    /* Issue notifications dynamically to paired peers if subscribed */
    if (g_notify_voltage) {
        bt_gatt_notify(NULL, &pm100_svc.attrs[2], &g_ble_voltage, sizeof(g_ble_voltage));
    }
    if (g_notify_current) {
        bt_gatt_notify(NULL, &pm100_svc.attrs[5], &g_ble_current, sizeof(g_ble_current));
    }
    if (g_notify_energy) {
        bt_gatt_notify(NULL, &pm100_svc.attrs[8], &g_ble_energy, sizeof(g_ble_energy));
    }
    if (g_notify_uptime) {
        uint32_t uptime_ms = (uint32_t)telem->time_ms;
        bt_gatt_notify(NULL, &pm100_svc.attrs[11], &uptime_ms, sizeof(uptime_ms));
    }
    if (g_notify_pwms) {
        bt_gatt_notify(NULL, &pm100_svc.attrs[14], g_ble_pwms, sizeof(g_ble_pwms));
    }
    if (g_notify_power) {
        bt_gatt_notify(NULL, &pm100_svc.attrs[23], &g_ble_power, sizeof(g_ble_power));
    }
    if (g_notify_control_state) {
        bt_gatt_notify(NULL, &pm100_svc.attrs[26], &g_ble_control_state, sizeof(g_ble_control_state));
    }
}

#else /* IS_ENABLED(CONFIG_BT) == false */

/* Compile-ready stub fallback implementation when BLE is turned off in configs */

int ble_telemetry_init(void)
{
    LOG_WRN("Bluetooth BLE not enabled in build (CONFIG_BT=n). BLE service disabled.");
    return 0;
}

void ble_telemetry_update(const struct system_telemetry *telem)
{
    // No-op stub
}

#endif
```

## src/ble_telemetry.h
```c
#ifndef __BLE_TELEMETRY_H
#define __BLE_TELEMETRY_H

#include "control.h"

/**
 * @brief Initialize the Bluetooth BLE telemetry advertising and GATT services.
 * 
 * Configures the BLE stack, registers characteristics (Voltage, Current, Energy, 
 * Uptime, PWM State, Team Name, and Team Number), and begins advertising.
 * 
 * If CONFIG_BT is disabled in the build, this function behaves as a safe, 
 * compile-ready stub.
 * 
 * @return int 0 on success, or a negative error code on failure.
 */
int ble_telemetry_init(void);

/**
 * @brief Update the BLE characteristics with the latest thread-safe telemetry data.
 * 
 * Converts the telemetry floats to scaled, compact binary integers and triggers
 * GATT notifications if peers are subscribed.
 * 
 * @param telem Pointer to the latest telemetry structure.
 */
void ble_telemetry_update(const struct system_telemetry *telem);

#endif /* __BLE_TELEMETRY_H */
```

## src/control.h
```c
#ifndef __CONTROL_H
#define __CONTROL_H

#include <stdint.h>
#include <stdbool.h>
#include <zephyr/kernel.h>

/* Control loop timing: 1 kHz */
#define CONTROL_PERIOD_US 1000u
#define CONTROL_PERIOD_MS 1u
#define CONTROL_PERIOD_S  0.001f

/* How long a CLI/BLE white-blink request overrides the state colour, in ms. */
#define BLINK_HOLD_MS 5000

/* ------------------------------------------------------------------------- */
/* Automatic identification (staircase)                                      */
/* ------------------------------------------------------------------------- */

/* Throttle levels the firmware commands itself, and the pre-step power (W)
 * each level must reach before the next step. */
#define CONTROL_IDENT_LEVELS 5

/* IMC closed-loop time constant used to derive the gains from K and tau.
 * Floor: the ESC output PWM has a 20 ms period, so the actuator alone adds a
 * 0-20 ms (mean 10 ms) delay; a loop faster than this rings regardless of the
 * observer tuning. */
#define CONTROL_LAMBDA_MIN_S 0.025f
#define CONTROL_LAMBDA_MAX_S 0.500f

/* Sanity bound on the power target. A target of 0 or less would command the ESC
 * floor regardless of the stick (the limiter becomes a motor kill switch), and
 * an absurd value silently disables the limiter altogether - the bench plant
 * tops out around 190 W, so a typo like `pm100 target 800` for 80 W looks
 * exactly like "the limiter is not running". Both are rejected rather than
 * stored. See also the reachability check against the identified range. */
#define CONTROL_TARGET_MAX_W 1000.0f

/** Result of the last automatic identification. */
struct control_ident_result {
	bool valid;                        /* a completed run is available     */
	bool running;                      /* a run is in progress             */
	uint8_t levels;                    /* number of populated staircase points */
	uint16_t u_us[CONTROL_IDENT_LEVELS];  /* commanded throttles            */
	float p_settled[CONTROL_IDENT_LEVELS];/* settled power at each level, W  */
	float k[CONTROL_IDENT_LEVELS];     /* incremental gain dP/du, W per us */
	float tau[CONTROL_IDENT_LEVELS];   /* fitted time constant, s          */
	float shape[CONTROL_IDENT_LEVELS]; /* (t90-t63)/(t63-t10), 1.47 = first order */
	float tau_rel_err[CONTROL_IDENT_LEVELS]; /* 1-sigma tau uncertainty, rel. */
	float deadtime[CONTROL_IDENT_LEVELS]; /* t0 from the 10% crossing, s   */
	uint16_t n_band[CONTROL_IDENT_LEVELS]; /* samples in the 10-90% transit */
	float noise_w[CONTROL_IDENT_LEVELS]; /* settled-phase power noise, W rms */
	uint8_t n_tau;                     /* steps that passed the fit gate   */
	float tau_median;                  /* median of the valid tau values   */
	float k_at_target;                 /* local gain at the power target   */
	float v_ref;                       /* mean bus voltage during the run  */
	float lambda;                      /* chosen closed-loop time constant */
	float b0, kp, wo;                  /* gains that were applied          */
	float loop_dt;                     /* measured control period during the run */
	char last_abort[40];               /* reason the last run stopped      */
};

/**
 * @brief Arm and run the automatic identification staircase.
 *
 * The firmware takes ownership of the ESC output (bypassing
 * pwm_out = min(pwm_in, u)) and commands CONTROL_IDENT_LEVELS settled throttle
 * levels, fitting K, tau and the stimulus dead time at each step. On success it
 * derives lambda-tuned gains, applies them and saves them to NVS.
 *
 * @warning The motor is driven by the firmware for the duration of the run.
 *          Requires the pilot's stick to have been at idle for 1 s (that is the
 *          arm condition) and aborts immediately if the stick moves, if the
 *          power cap or timeout is exceeded, or if the input becomes unsafe.
 *
 * @param lambda_s Requested closed-loop time constant in seconds; <= 0 selects
 *                 max(tau_median, CONTROL_LAMBDA_MIN_S).
 * @return int 0 if the run was armed, negative errno otherwise.
 */
int control_ident_start(float lambda_s);

/** @brief Abort a running identification and hand the throttle back. */
void control_ident_abort(void);

/** @return true while the identification owns the ESC output. */
bool control_ident_running(void);

/** @return pointer to the last identification result (never NULL). */
const struct control_ident_result *control_ident_result(void);

/* ESC PWM pulse boundaries (microseconds) */
#define PWM_SAFE_STOP_US  1000
#define PWM_MIN_US        1000
#define PWM_MAX_US        2000

/*
 * Throttle input validity window (microseconds).
 *
 * Receivers do not stop at exactly 2000 us: the flight log showed full stick
 * producing 2002-2016 us, which failed the old upper bound of 2000 and turned
 * a full-throttle request into ERROR_NO_INPUT + safe stop (throttle cut to
 * 1000 us). The window is therefore 850..2100 us. It still rejects "no signal"
 * (input_period is forced to 0 when no pulse arrives, and above 2500 us by the
 * capture path) and anything below the transmitter's low endpoint, while
 * tolerating the normal endpoint overshoot of real receivers.
 */
#define PWM_INPUT_MIN_US  850
#define PWM_INPUT_MAX_US  2100

/*
 * Limiter bypass switch input. When the bypass PWM input pulse is at or above
 * this value the ADRC controller is bypassed and the pilot throttle passes
 * straight to the ESC. Below it, the controller runs normally. The same
 * PWM_INPUT_MIN_US..PWM_INPUT_MAX_US validity window as the throttle applies.
 */
#define PWM_BYPASS_THRESHOLD_US 1500

/* Minimum battery voltage to consider the system safe (Volts) */
#define BATTERY_MIN_V     5.0f

enum ctrl_state {
    READY,
    LIMITING_POWER,
    ERROR_NO_INPUT,
    ERROR_NO_BATTERY,
    BLINK,
    LEARNING,
    BYPASS
};

/* b0 learning progress stages */
enum learning_stage {
    LEARNING_STAGE_IDLE,
    LEARNING_STAGE_LOW_BAND,
    LEARNING_STAGE_STEP_HIGH,
    LEARNING_STAGE_STEP_LOW,
    LEARNING_STAGE_ESTIMATING,
    LEARNING_STAGE_DONE
};

/* Telemetry data structure */
struct system_telemetry {
    float power_w;              // Peak power measured since boot (Watts)
    float current_a;            // Instantaneous current (Amperes)
    float voltage_v;            // Instantaneous bus voltage (Volts)
    float total_consumption_j;  // Accumulated energy (Joules)
    uint64_t time_ms;           // Uptime timestamp (ms)
    int pwm_input_us;           // Pilot throttle input pulse (us)
    int pwm_bypass_us;          // Bypass switch input pulse (us)
    int pwm_output_us;          // Applied ESC output pulse (us)
    int pwm_control_us;         // Raw ADRC control effort (us)
    enum ctrl_state state;      // Active control state
};

/* Persistent configuration structure saved in NVS */
struct __attribute__((packed)) device_config {
    /* ADRC Controller Parameters */
    float dt;                   // Fixed sampling time step (1 kHz loop, seconds)
    float wo;                   // Observer bandwidth (rad/s)
    float b0;                   // Controller input gain scaling factor
    float kp;                   // Proportional gain
    float kd;                   // Derivative gain
    float target_power;         // Power target limit (Watts)
    float shunt_resistor_mohm;  // Shunt resistor value (mOhm)

    /* Team & Identification Information */
    char team_name[32];         // Team name string (null-terminated)
    uint32_t team_number;       // Unique identifier for the team / controller
    char PIN_code[7];           // 6-character security PIN (+null terminator)
};

/* Global shared variables */
extern struct system_telemetry g_telemetry;
extern struct k_mutex g_telemetry_mutex;

extern struct device_config g_config;
extern struct k_mutex g_config_mutex;

extern volatile bool g_stream_active;
extern volatile bool g_learning_mode;
extern volatile enum learning_stage g_learning_stage;
extern volatile int64_t g_blink_start_time;

/* Function prototypes */
int control_init(void);

/* Mutex-protected set functions for shell command thread safety */
int control_update_gains(float wo, float b0, float kp, float kd);
int control_update_target(float target_power);
int control_update_shunt(float shunt_resistor_mohm);

#endif /* __CONTROL_H */
```

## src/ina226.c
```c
#include "ina226.h"
#include <zephyr/logging/log.h>

/**
 * @brief Set the throttle output for the Electronic Speed Controller (ESC).
 * 
 * Writes the minimum value between the ADRC controller command and the pilot's input
 * throttle to the physical PWM device, enforcing safety bounds.
 * 
 * @param self Pointer to the base motor hardware interface.
 * @param current_throtle Calculated throttle command from the ADRC controller (in us).
 * @return int 0 on success, or a negative error code on failure.
 */
static int set_throtle(struct motor_hardware_if *self, float current_throtle)
{
    if (!self) {
        return -EINVAL;
    }

    int input = pwm_input_get_period();
    int output_control = (int)current_throtle;

    // Enforce pilot override: throttle output can never exceed physical input from pilot
    if (input < output_control) {
        output_control = input;
    }

    int ret;
    // Standard RC pulse limits (900 us to 2100 us) with safe guard bounds [750, 2500]
    if (output_control >= 750 && output_control <= 2500) {
        ret = pwm_set_pulse_dt(&output, PWM_USEC(output_control));
        if (ret < 0) {
            LOG_ERR("Failed to set PWM pulse %d: error %d", output_control, ret);
            return ret;
        }
        return 0;
    } else {
        // Safe minimum pulse for out of bounds
        ret = pwm_set_pulse_dt(&output, PWM_USEC(1000));
        if (ret < 0) {
            LOG_ERR("Failed to set safe PWM pulse: error %d", ret);
            return ret;
        }
    }

    return -EINVAL;
}

/**
 * @brief Fetch current power, voltage, and current readings from the INA226 sensor.
 * 
 * @param self Pointer to the base motor hardware interface.
 * @param current_power Pointer to store the fetched active power measurement (in Watts).
 * @return int 0 on success, or a negative error code on failure.
 */
static int get_power(struct motor_hardware_if *self, float *current_power)
{
    if (!self || !current_power) {
        return -EINVAL;
    }

    struct ina226 *mh = MH_CONTAINER_OF(self, struct ina226, interface);

    if (!mh->dev) {
        return -ENODEV;
    }

    struct sensor_value v_val, i_val, p_val;
    int ret;

    ret = sensor_sample_fetch(mh->dev);
    if (ret < 0) {
        return ret;
    }

    ret = sensor_channel_get(mh->dev, SENSOR_CHAN_VOLTAGE, &v_val);
    if (ret < 0) {
        return ret;
    }

    ret = sensor_channel_get(mh->dev, SENSOR_CHAN_CURRENT, &i_val);
    if (ret < 0) {
        return ret;
    }

    ret = sensor_channel_get(mh->dev, SENSOR_CHAN_POWER, &p_val);
    if (ret < 0) {
        return ret;
    }

    // Convert sensor values to standard SI units
    float voltage = (float)sensor_value_to_double(&v_val);
    float current = (float)sensor_value_to_double(&i_val);
    float power = (float)sensor_value_to_double(&p_val);

    // Retrieve active shunt resistor value thread-safely
    k_mutex_lock(&g_config_mutex, K_FOREVER);
    float shunt_mohm = g_config.shunt_resistor_mohm;
    k_mutex_unlock(&g_config_mutex);

    if (shunt_mohm <= 0.0f) {
        shunt_mohm = 1.0f; // safety fallback
    }

    // Zephyr's DTS default configured shunt is 1.0mOhm (1000 micro-ohms)
    // Scale factor = (DTS Shunt) / (Physical Shunt)
    float shunt_scale = 1.0f / shunt_mohm;
    current *= shunt_scale;
    power *= shunt_scale;

    mh->current_power = power;
    mh->current_mV = voltage * 1000.0f;
    mh->current_mA = current * 1000.0f;

    *current_power = power;

    return 0;
}

/**
 * @brief Initialize the INA226 and PWM input/output interfaces.
 * 
 * Configures the hardware interface handlers.
 * 
 * @param mh Pointer to the ina226 driver struct.
 * @param ina226_dev Pointer to the Zephyr sensor device instance.
 * @return int 0 on success, or a negative error code on failure.
 */
int ina226_init(struct ina226 *mh, const struct device *ina226_dev)
{
    if (!mh || !ina226_dev) {
        return -EINVAL;
    }

    int ret;

    ret = pwm_input_init();
    if (ret < 0) {
        LOG_ERR("Failed to initialize PWM input (error %d)", ret);
        return -ENODEV;
    }

    if (!pwm_is_ready_dt(&output)) {
        LOG_ERR("PWM output device not ready");
        return -ENODEV;
    }

    if (!device_is_ready(ina226_dev)) {
        LOG_ERR("INA226 sensor device not ready");
        return -ENODEV;
    }

    mh->dev = ina226_dev;
    mh->interface.get_power = get_power;
    mh->interface.set_throtle = set_throtle;

    mh->current_power = 0.0f;
    mh->current_mV = 0.0f;
    mh->current_mA = 0.0f;
    mh->current_joules = 0.0f;

    return 0;
}
```

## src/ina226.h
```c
#ifndef __INA226_H
#define __INA226_H

#include <zephyr/kernel.h>
#include <zephyr/device.h>
#include <zephyr/drivers/sensor.h>
#include <zephyr/drivers/pwm.h>
#include "lipe/motor_hardware.h" // Required for struct motor_hardware_if
#include "pwm-input.h"

static const struct pwm_dt_spec output = PWM_DT_SPEC_GET(DT_NODELABEL(esc));

struct ina226 {
    struct motor_hardware_if interface;
    const struct device *dev; // Pointer to the underlying Zephyr sensor device

    float current_power;
    float current_mV;
    float current_mA;
    float current_joules;
};

static inline
struct motor_hardware_if * ina226_get_if(struct ina226 *mh)
{
    if(mh) {
        return &mh->interface;
    }

    return NULL;
}

int ina226_init(struct ina226 *mh, const struct device *ina226_dev);

#endif // __INA226_H
```

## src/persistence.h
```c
#ifndef __PERSISTENCE_H
#define __PERSISTENCE_H

#include "control.h"

/**
 * @brief Initialize the persistence layer.
 * 
 * Attempts to mount Zephyr's NVS partition. If NVS is not compiled in or fails,
 * it falls back to simulated persistence in RAM.
 * 
 * @return int 0 on success, or a negative error code on failure.
 */
int persistence_init(void);

/**
 * @brief Save the device configuration struct.
 * 
 * Writes the configuration struct to NVS storage (ID 1) or updates the RAM cache.
 * 
 * @param cfg Pointer to the device_config structure to save.
 * @return int 0 on success, or a negative error code on failure.
 */
int persistence_save_config(const struct device_config *cfg);

/**
 * @brief Load the device configuration struct.
 * 
 * Reads the configuration struct from NVS storage (ID 1) or from the RAM cache.
 * 
 * @param cfg Pointer to the device_config structure to load into.
 * @return int 0 on success, or a negative error code on failure.
 */
int persistence_load_config(struct device_config *cfg);

#endif /* __PERSISTENCE_H */
```
